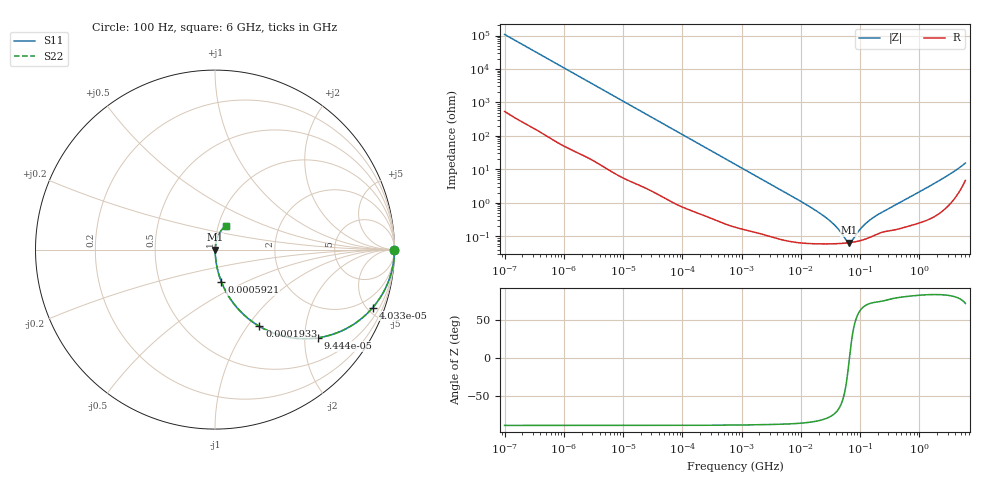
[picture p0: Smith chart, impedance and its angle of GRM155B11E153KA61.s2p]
!Murata Part Number: GRM155B11E153KA61
!These Parameters are Measured in Series Mode Connection
!Data Generated on Mar 30, 2021
!  o--ll--o
!Port1  Port2
!  o------o
!Operation Temp=25[degC], DC Bias Voltage=0[V]
!Freq. Start=100[Hz] Stop=6[GHz] 401[Steps]
# Hz S RI R 50
!Freq.(Hz) S11(Real) S11(Imag) S21(Real) S21(Imag) S12(Real) S12(Imag) S22(Real) S22(Imag)
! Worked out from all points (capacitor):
!   401 points, 100 Hz to 6 GHz, reference 50 ohm
!   read as one part in series: C = 14.8 nF near 109 Hz
!   lowest |Z| = 64.3 mohm at 65.19 MHz (marker M1)
!   series resonance near 66.24 MHz, so ESL is about 390 pH
!   S11 on the Smith chart (normalised r, x): 100 Hz: open; 40.34 kHz: 1.03, -5.43; 94.44 kHz: 1.02, -2.33; 193.3 kHz: 1.01, -1.14; 592.1 kHz: 1.00, -0.37; 6 GHz: 1.09, +0.29
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100  1 -0.00093  5.5e-06 0.00093  5.5e-06 0.00093  1 -0.00093
2008  0.9996 -0.0185  0.000436 0.0185  0.000436 0.0185  0.9996 -0.0185
11514  0.9884 -0.1043  0.0116 0.1043  0.0116 0.1043  0.9884 -0.1043
40335  0.8791 -0.3229  0.1209 0.3229  0.1209 0.3229  0.8791 -0.3229
60352  0.7663 -0.42  0.2337 0.42  0.2337 0.42  0.7663 -0.42
94437  0.5746 -0.4911  0.4254 0.4911  0.4254 0.4911  0.5746 -0.4911
193316  0.247 -0.4271  0.753 0.4271  0.753 0.4271  0.247 -0.4271
316350  0.111 -0.3094  0.889 0.3094  0.889 0.3094  0.111 -0.3094
592111  0.0358 -0.18  0.9642 0.18  0.9642 0.18  0.0358 -0.18
774597  0.0218 -0.1398  0.9782 0.1398  0.9782 0.1398  0.0218 -0.1398
2481164  0.00311 -0.0449  0.9969 0.0449  0.9969 0.0449  0.00311 -0.0449
1.555665e7  0.000647 -0.00686  0.9994 0.00686  0.9994 0.00686  0.000647 -0.00686
3.330331e7  0.0006 -0.00253  0.9994 0.00253  0.9994 0.00253  0.0006 -0.00253
4.35672e7  0.000606 -0.00147  0.9994 0.00147  0.9994 0.00147  0.000606 -0.00147
5.960426e7  0.00063 -0.000359  0.9994 0.000359  0.9994 0.000359  0.00063 -0.000359
6.518806e7  0.000641 -5.38e-05  0.9994 5.38e-05  0.9994 5.38e-05  0.000641 -5.38e-05
7.455971e7  0.000662 0.000403  0.9993 -0.000403  0.9993 -0.000403  0.000662 0.000403
1.020051e8  0.000745 0.0015  0.9993 -0.0015  0.9993 -0.0015  0.000745 0.0015
1.334425e8  0.000874 0.00253  0.9991 -0.00253  0.9991 -0.00253  0.000874 0.00253
3.124326e8  0.0015 0.0067  0.9985 -0.0067  0.9985 -0.0067  0.0015 0.0067
1.95892e9  0.0059 0.0409  0.9941 -0.0409  0.9941 -0.0409  0.0059 0.0409
6e9  0.0633 0.1319  0.9367 -0.1319  0.9367 -0.1319  0.0633 0.1319
